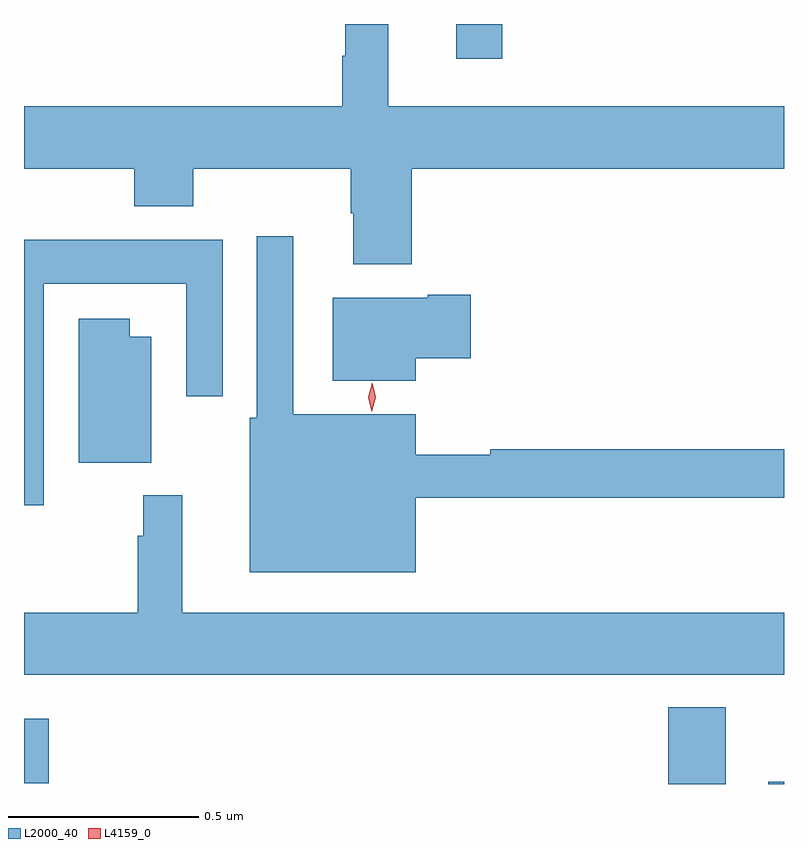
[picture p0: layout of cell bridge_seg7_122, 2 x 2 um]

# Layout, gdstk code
import gdstk
lib = gdstk.Library(unit=1e-6, precision=1e-09)
def R(c, l, rs):  # rectangles x0, y0, x1, y1
    for r in rs: c.add(gdstk.rectangle(r[:2], r[2:], *l))
def P(c, l, *ps):  # polygons
    for p in ps: c.add(gdstk.Polygon(p, *l))
L2000_40 = (2000, 40)
L4159_0 = (4159, 0)

bridge_seg7_122 = lib.new_cell('bridge_seg7_122')
R(bridge_seg7_122, L2000_40, [(684.827,1012.317,684.979,1012.519), (685.091,1012.317,685.132,1012.323), (683.132,1012.319,683.197,1012.489), (684.269,1014.225,684.391,1014.317)])
P(bridge_seg7_122, L2000_40, [(684.152,1013.936),(685.132,1013.936),(685.132,1014.1),(684.091,1014.1),(684.091,1014.317),(683.977,1014.317),(683.977,1014.233),(683.97,1014.233),(683.97,1014.1),(683.132,1014.1),(683.132,1013.936),(683.422,1013.936),(683.422,1013.837),(683.577,1013.837),(683.577,1013.936),(683.992,1013.936),(683.992,1013.819),(683.999,1013.819),(683.999,1013.685),(684.152,1013.685)],
  [(684.163,1013.07),(685.132,1013.07),(685.132,1013.198),(684.359,1013.198),(684.359,1013.183),(684.163,1013.183),(684.163,1013.29),(683.841,1013.29),(683.841,1013.758),(683.745,1013.758),(683.745,1013.281),(683.726,1013.281),(683.726,1012.874),(684.163,1012.874)],
  [(683.184,1013.633),(683.559,1013.633),(683.559,1013.337),(683.655,1013.337),(683.655,1013.749),(683.132,1013.749),(683.132,1013.05),(683.184,1013.05)],
  [(684.163,1013.438),(684.307,1013.438),(684.307,1013.604),(684.194,1013.604),(684.194,1013.596),(683.945,1013.596),(683.945,1013.378),(684.163,1013.378)],
  [(683.467,1013.494),(683.41,1013.494),(683.41,1013.542),(683.276,1013.542),(683.276,1013.162),(683.467,1013.162)],
  [(685.132,1012.768),(683.548,1012.768),(683.548,1013.077),(683.446,1013.077),(683.446,1012.97),(683.431,1012.97),(683.431,1012.768),(683.132,1012.768),(683.132,1012.604),(685.132,1012.604)])
P(bridge_seg7_122, L4159_0, [(684.047,1013.297),(684.047,1013.297),(684.038,1013.335),(684.049,1013.373),(684.049,1013.373),(684.049,1013.373),(684.058,1013.335),(684.047,1013.297)])

lib.write_gds('bridge_seg7_122.gds')
